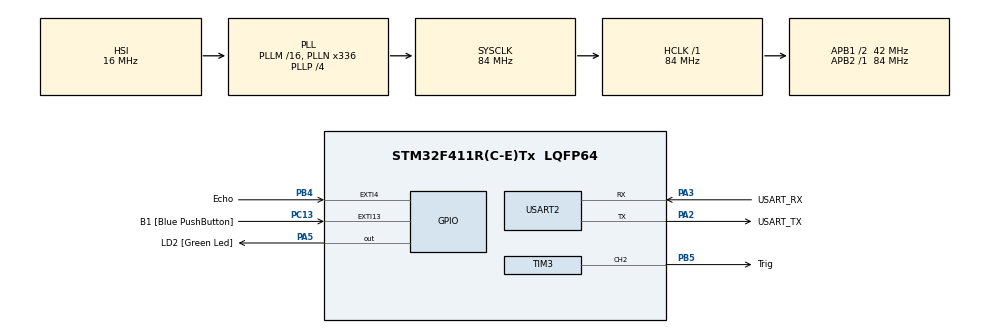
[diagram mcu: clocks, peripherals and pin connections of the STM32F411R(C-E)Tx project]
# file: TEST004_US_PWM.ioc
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Mcu.Family=STM32F4
Mcu.Name=STM32F411R(C-E)Tx
Mcu.Package=LQFP64
NVIC.EXTI4_IRQn=true\:0\:0\:false\:false\:true\:true\:true\:true
NVIC.PriorityGroup=NVIC_PRIORITYGROUP_0
PA13.GPIO_Label=TMS
PA13.Mode=Serial_Wire
PA13.Signal=SYS_JTMS-SWDIO
PA14.GPIO_Label=TCK
PA14.Mode=Serial_Wire
PA14.Signal=SYS_JTCK-SWCLK
PA2.GPIO_Label=USART_TX
PA2.Mode=Asynchronous
PA2.Signal=USART2_TX
PA3.GPIO_Label=USART_RX
PA3.Mode=Asynchronous
PA3.Signal=USART2_RX
PA5.GPIO_Label=LD2 [Green Led]
PA5.Signal=GPIO_Output
PB3.GPIO_Label=SWO
PB3.Signal=SYS_JTDO-SWO
PB4.GPIO_Label=Echo
PB4.GPIO_ModeDefaultEXTI=GPIO_MODE_IT_RISING_FALLING
PB4.Signal=GPXTI4
PB5.GPIO_Label=Trig
PB5.Signal=S_TIM3_CH2
PC13-ANTI_TAMP.GPIO_Label=B1 [Blue PushButton]
PC13-ANTI_TAMP.GPIO_ModeDefaultEXTI=GPIO_MODE_IT_FALLING
PC13-ANTI_TAMP.Signal=GPXTI13
PC14-OSC32_IN.Mode=LSE-External-Oscillator
PC14-OSC32_IN.Signal=RCC_OSC32_IN
PC15-OSC32_OUT.Mode=LSE-External-Oscillator
PC15-OSC32_OUT.Signal=RCC_OSC32_OUT
PH0\ -\ OSC_IN.Mode=HSE-External-Clock-Source
PH0\ -\ OSC_IN.Signal=RCC_OSC_IN
PH1\ -\ OSC_OUT.Mode=HSE-External-Clock-Source
PH1\ -\ OSC_OUT.Signal=RCC_OSC_OUT
ProjectManager.HeapSize=0x200
ProjectManager.StackSize=0x400
ProjectManager.TargetToolchain=STM32CubeIDE
RCC.48MHZClocksFreq_Value=84000000
RCC.AHBFreq_Value=84000000
RCC.APB1CLKDivider=RCC_HCLK_DIV2
RCC.APB1Freq_Value=42000000
RCC.APB1TimFreq_Value=84000000
RCC.APB2Freq_Value=84000000
RCC.APB2TimFreq_Value=84000000
RCC.CortexFreq_Value=84000000
RCC.FLatency-AdvancedSettings=FLASH_LATENCY_2
RCC.HCLKFreq_Value=84000000
RCC.HSE_VALUE=8000000
RCC.HSI_VALUE=16000000
RCC.PLLN=336
RCC.PLLP=RCC_PLLP_DIV4
RCC.SYSCLKFreq_VALUE=84000000
RCC.SYSCLKSource=RCC_SYSCLKSOURCE_PLLCLK
RCC.VCOOutputFreq_Value=336000000
SH.S_TIM3_CH2.0=TIM3_CH2,PWM Generation2 CH2
TIM3.Channel-PWM\ Generation2\ CH2=TIM_CHANNEL_2
TIM3.Period=40000-1
TIM3.Prescaler=140-1
TIM3.Pulse-PWM\ Generation2\ CH2=6
TIM5.Prescaler=84-1
USART2.VirtualMode=VM_ASYNC
VP_TIM3_VS_ClockSourceINT.Mode=Internal
VP_TIM5_VS_ClockSourceINT.Mode=Internal
board=NUCLEO-F411RE

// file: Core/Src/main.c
/* USER CODE BEGIN Header */
/**
  ******************************************************************************
  * @file           : main.c
  * @brief          : Main program body
  ******************************************************************************
  * @attention
  *
  * Copyright (c) 2024 STMicroelectronics.
  * All rights reserved.
  *
  * This software is licensed under terms that can be found in the LICENSE file
  * in the root directory of this software component.
  * If no LICENSE file comes with this software, it is provided AS-IS.
  *
  ******************************************************************************
  */
/* USER CODE END Header */
#include "main.h"

TIM_HandleTypeDef htim3;
TIM_HandleTypeDef htim5;

UART_HandleTypeDef huart2;

void SystemClock_Config(void);
static void MX_GPIO_Init(void);
static void MX_USART2_UART_Init(void);
static void MX_TIM3_Init(void);
static void MX_TIM5_Init(void);

/* USER CODE BEGIN 0 */
int ts = 0; //Time_Echo_Start
double dist = 0.0;
void HAL_GPIO_EXTI_Callback(uint16_t GPIO_Pin)
{
	int te = htim5.Instance->CNT; //현재의 타이머 값을 CNT에 저장
	if(GPIO_Pin == Echo_Pin)
	{
		if(HAL_GPIO_ReadPin(Echo_GPIO_Port, Echo_Pin) == 1)
		{
			ts = te;
		}
		else
		{
			dist = (te - ts) * 0.00017;
		}
	}
}
/* USER CODE END 0 */

int main(void)
{

  /* MCU Configuration--------------------------------------------------------*/

  /* Reset of all peripherals, Initializes the Flash interface and the Systick. */
  HAL_Init();

  /* Configure the system clock */
  SystemClock_Config();

  /* Initialize all configured peripherals */
  MX_GPIO_Init();
  MX_USART2_UART_Init();
  MX_TIM3_Init();
  MX_TIM5_Init();
  /* USER CODE BEGIN 2 */

  ProgramStart("UltraSonic_PWM");
  //printf("\033[?25l"); //cursor off
  HAL_TIM_Base_Start(&htim5);
  HAL_TIM_PWM_Start(&htim3, TIM_CHANNEL_2);

  /* USER CODE END 2 */

  /* Infinite loop */
  while (1)
  {

    /* USER CODE BEGIN 3 */
	  double d = dist * 100;
	  printf("\033[10;10H\033#3Distance : %.2f cm    ", d);
	  printf("\033[11;10H\033#4Distance : %.2f cm    \n", d);

  }
  /* USER CODE END 3 */
}

void SystemClock_Config(void)
{
  RCC_OscInitTypeDef RCC_OscInitStruct = {0};
  RCC_ClkInitTypeDef RCC_ClkInitStruct = {0};

  /** Configure the main internal regulator output voltage
  */
  __HAL_RCC_PWR_CLK_ENABLE();
  __HAL_PWR_VOLTAGESCALING_CONFIG(PWR_REGULATOR_VOLTAGE_SCALE1);

  /** Initializes the RCC Oscillators according to the specified parameters
  * in the RCC_OscInitTypeDef structure.
  */
  RCC_OscInitStruct.OscillatorType = RCC_OSCILLATORTYPE_HSI;
  RCC_OscInitStruct.HSIState = RCC_HSI_ON;
  RCC_OscInitStruct.HSICalibrationValue = RCC_HSICALIBRATION_DEFAULT;
  RCC_OscInitStruct.PLL.PLLState = RCC_PLL_ON;
  RCC_OscInitStruct.PLL.PLLSource = RCC_PLLSOURCE_HSI;
  RCC_OscInitStruct.PLL.PLLM = 16;
  RCC_OscInitStruct.PLL.PLLN = 336;
  RCC_OscInitStruct.PLL.PLLP = RCC_PLLP_DIV4;
  RCC_OscInitStruct.PLL.PLLQ = 4;
  if (HAL_RCC_OscConfig(&RCC_OscInitStruct) != HAL_OK)
  {
    Error_Handler();
  }

  /** Initializes the CPU, AHB and APB buses clocks
  */
  RCC_ClkInitStruct.ClockType = RCC_CLOCKTYPE_HCLK|RCC_CLOCKTYPE_SYSCLK
                              |RCC_CLOCKTYPE_PCLK1|RCC_CLOCKTYPE_PCLK2;
  RCC_ClkInitStruct.SYSCLKSource = RCC_SYSCLKSOURCE_PLLCLK;
  RCC_ClkInitStruct.AHBCLKDivider = RCC_SYSCLK_DIV1;
  RCC_ClkInitStruct.APB1CLKDivider = RCC_HCLK_DIV2;
  RCC_ClkInitStruct.APB2CLKDivider = RCC_HCLK_DIV1;

  if (HAL_RCC_ClockConfig(&RCC_ClkInitStruct, FLASH_LATENCY_2) != HAL_OK)
  {
    Error_Handler();
  }
}

static void MX_TIM3_Init(void)
{

  TIM_ClockConfigTypeDef sClockSourceConfig = {0};
  TIM_MasterConfigTypeDef sMasterConfig = {0};
  TIM_OC_InitTypeDef sConfigOC = {0};

  htim3.Instance = TIM3;
  htim3.Init.Prescaler = 140-1;
  htim3.Init.CounterMode = TIM_COUNTERMODE_UP;
  htim3.Init.Period = 40000-1;
  htim3.Init.ClockDivision = TIM_CLOCKDIVISION_DIV1;
  htim3.Init.AutoReloadPreload = TIM_AUTORELOAD_PRELOAD_DISABLE;
  if (HAL_TIM_Base_Init(&htim3) != HAL_OK)
  {
    Error_Handler();
  }
  sClockSourceConfig.ClockSource = TIM_CLOCKSOURCE_INTERNAL;
  if (HAL_TIM_ConfigClockSource(&htim3, &sClockSourceConfig) != HAL_OK)
  {
    Error_Handler();
  }
  if (HAL_TIM_PWM_Init(&htim3) != HAL_OK)
  {
    Error_Handler();
  }
  sMasterConfig.MasterOutputTrigger = TIM_TRGO_RESET;
  sMasterConfig.MasterSlaveMode = TIM_MASTERSLAVEMODE_DISABLE;
  if (HAL_TIMEx_MasterConfigSynchronization(&htim3, &sMasterConfig) != HAL_OK)
  {
    Error_Handler();
  }
  sConfigOC.OCMode = TIM_OCMODE_PWM1;
  sConfigOC.Pulse = 6;
  sConfigOC.OCPolarity = TIM_OCPOLARITY_HIGH;
  sConfigOC.OCFastMode = TIM_OCFAST_DISABLE;
  if (HAL_TIM_PWM_ConfigChannel(&htim3, &sConfigOC, TIM_CHANNEL_2) != HAL_OK)
  {
    Error_Handler();
  }
  HAL_TIM_MspPostInit(&htim3);

}

static void MX_TIM5_Init(void)
{

  TIM_ClockConfigTypeDef sClockSourceConfig = {0};
  TIM_MasterConfigTypeDef sMasterConfig = {0};

  htim5.Instance = TIM5;
  htim5.Init.Prescaler = 84-1;
  htim5.Init.CounterMode = TIM_COUNTERMODE_UP;
  htim5.Init.Period = 4294967295;
  htim5.Init.ClockDivision = TIM_CLOCKDIVISION_DIV1;
  htim5.Init.AutoReloadPreload = TIM_AUTORELOAD_PRELOAD_DISABLE;
  if (HAL_TIM_Base_Init(&htim5) != HAL_OK)
  {
    Error_Handler();
  }
  sClockSourceConfig.ClockSource = TIM_CLOCKSOURCE_INTERNAL;
  if (HAL_TIM_ConfigClockSource(&htim5, &sClockSourceConfig) != HAL_OK)
  {
    Error_Handler();
  }
  sMasterConfig.MasterOutputTrigger = TIM_TRGO_RESET;
  sMasterConfig.MasterSlaveMode = TIM_MASTERSLAVEMODE_DISABLE;
  if (HAL_TIMEx_MasterConfigSynchronization(&htim5, &sMasterConfig) != HAL_OK)
  {
    Error_Handler();
  }

}

static void MX_USART2_UART_Init(void)
{

  huart2.Instance = USART2;
  huart2.Init.BaudRate = 115200;
  huart2.Init.WordLength = UART_WORDLENGTH_8B;
  huart2.Init.StopBits = UART_STOPBITS_1;
  huart2.Init.Parity = UART_PARITY_NONE;
  huart2.Init.Mode = UART_MODE_TX_RX;
  huart2.Init.HwFlowCtl = UART_HWCONTROL_NONE;
  huart2.Init.OverSampling = UART_OVERSAMPLING_16;
  if (HAL_UART_Init(&huart2) != HAL_OK)
  {
    Error_Handler();
  }

}

static void MX_GPIO_Init(void)
{
  GPIO_InitTypeDef GPIO_InitStruct = {0};

  /* GPIO Ports Clock Enable */
  __HAL_RCC_GPIOC_CLK_ENABLE();
  __HAL_RCC_GPIOH_CLK_ENABLE();
  __HAL_RCC_GPIOA_CLK_ENABLE();
  __HAL_RCC_GPIOB_CLK_ENABLE();

  /*Configure GPIO pin Output Level */
  HAL_GPIO_WritePin(LD2_GPIO_Port, LD2_Pin, GPIO_PIN_RESET);

  /*Configure GPIO pin : B1_Pin */
  GPIO_InitStruct.Pin = B1_Pin;
  GPIO_InitStruct.Mode = GPIO_MODE_IT_FALLING;
  GPIO_InitStruct.Pull = GPIO_NOPULL;
  HAL_GPIO_Init(B1_GPIO_Port, &GPIO_InitStruct);

  /*Configure GPIO pin : LD2_Pin */
  GPIO_InitStruct.Pin = LD2_Pin;
  GPIO_InitStruct.Mode = GPIO_MODE_OUTPUT_PP;
  GPIO_InitStruct.Pull = GPIO_NOPULL;
  GPIO_InitStruct.Speed = GPIO_SPEED_FREQ_LOW;
  HAL_GPIO_Init(LD2_GPIO_Port, &GPIO_InitStruct);

  /*Configure GPIO pin : Echo_Pin */
  GPIO_InitStruct.Pin = Echo_Pin;
  GPIO_InitStruct.Mode = GPIO_MODE_IT_RISING_FALLING;
  GPIO_InitStruct.Pull = GPIO_NOPULL;
  HAL_GPIO_Init(Echo_GPIO_Port, &GPIO_InitStruct);

  /* EXTI interrupt init*/
  HAL_NVIC_SetPriority(EXTI4_IRQn, 0, 0);
  HAL_NVIC_EnableIRQ(EXTI4_IRQn);

}

void Error_Handler(void)
{
  __disable_irq();
  while (1)
  {
  }
}
